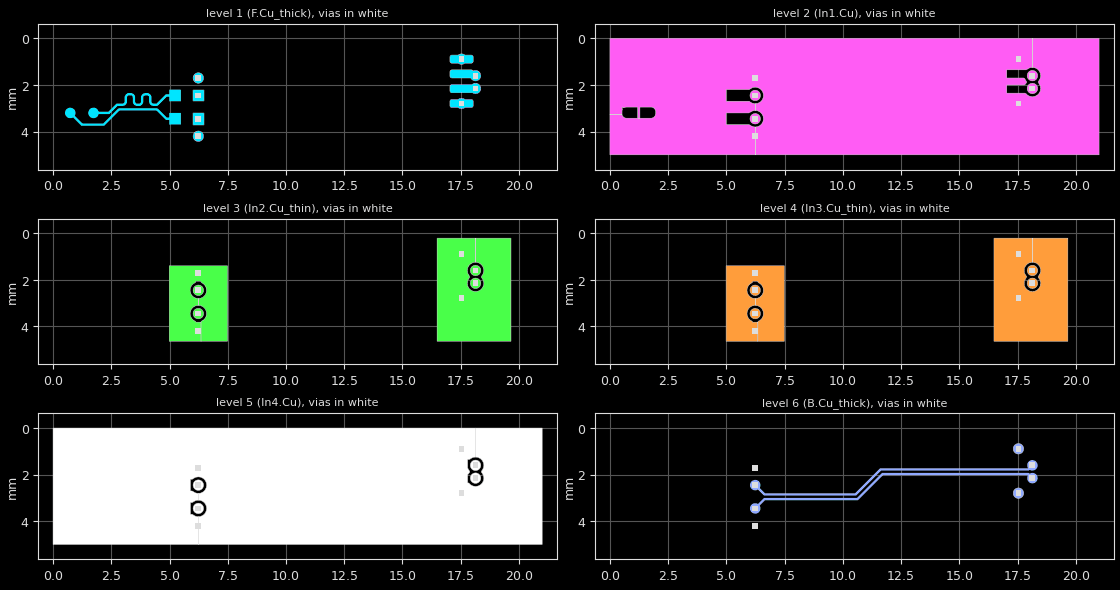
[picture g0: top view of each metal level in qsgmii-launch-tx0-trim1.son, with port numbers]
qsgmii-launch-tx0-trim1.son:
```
FTYP SONPROJ 19 ! Sonnet Project File
VER 18.56
HEADER
LIC antikernel2.1.65565
DAT 12/20/2024 06:20:38
BUILT_BY_CREATED xgeom 18.52 11/18/2021 20:28:07
BUILT_BY_SAVED sonnet 18.56
MDATE 12/20/2024 06:20:38
HDATE 12/20/2024 06:20:38
ANN Created by dxfgeo, Sonnet Software Inc.
END HEADER
DIM
ANG DEG
CAP PF
CON /OH
FREQ GHZ
IND NH
LNG MM
RES OH
END DIM
CONTROL
VARSWP
OPTIONS  -dj
SPEED 1
CACHE_ABS 2
Q_ACC N
END CONTROL
GEO
TMET "Free Space" 0 FREESPACE 376.7303136 0 0 0
BMET "Free Space" 0 FREESPACE 376.7303136 0 0 0
MET "Copper_1oz_thin" 1 NOR 58000000 0.5 0.035 
MET "Copper_1oz_thick" 2 TMM 58000000 0.5 0.035 2
MET "Copper_1oz_thick_down" 3 TMM 58000000 0.5 0.035 2 CDVY TDWN
MET "Copper_0.5oz_thin" 4 NOR 58000000 0.5 0.017 
MET "Copper_0.5oz_thick" 12 TMM 58000000 0.5 0.017 2
MET "Copper_0.5oz_thick_down" 5 TMM 58000000 0.5 0.017 2 CDVY TDWN
BOX 8 21 5 2100 500 20 0
      5 1 1 0 0 0 0 "Air"
      0.04 3.5 1 0.025 0 0 0 "Soldermask"
      0.076 4.49 1 0.016 0 0 0 "Shengyi_S1000-2M"
      0.1 4.49 1 0.016 0 0 0 "Shengyi_S1000-2M"
      1.038 4.49 1 0.016 0 0 0 "Shengyi_S1000-2M"
      0.1 4.49 1 0.016 0 0 0 "Shengyi_S1000-2M"
      0.076 4.49 1 0.016 0 0 0 "Shengyi_S1000-2M"
      0.04 3.5 1 0.025 0 0 0 "Soldermask"
      5 1 1 0 0 0 0 "Air"
TECHLAY METAL F.Cu_thick L1D0 -2 -65534 CAD F.Cu_thick drawing 
1 0 1 N 981 1 1 100 100 0 0 0 Y
END
END
TECHLAY METAL F.Cu_thin <UNSPECIFIED> -1 -65534 CAD F.Cu_thin drawing 
1 0 0 N 983 1 1 100 100 0 0 0 Y
END
END
TECHLAY VIA Via1 L7D0 -13 -65534 CAD Via1 drawing 
VIA POLYGON
1 0 -1 N 985 1 1 100 100 0 0 0 Y
TOLEVEL 6 RING NOCOVERS
END
END
TECHLAY METAL In1.Cu L2D0 -3 -65534 CAD In1.Cu drawing 
2 0 0 N 988 1 1 100 100 0 0 0 Y
END
END
TECHLAY METAL In2.Cu_thin L3D0 -4 -65534 CAD In2.Cu drawing 
3 0 3 N 991 1 1 100 100 0 0 0 Y
END
END
TECHLAY METAL In2.Cu_thick <UNSPECIFIED> -5 -65534 CAD In2.Cu_thick drawing 
3 0 4 N 993 1 1 100 100 0 0 0 Y
END
END
TECHLAY METAL In3.Cu_thin L4D0 -8 -65534 CAD In5.Cu drawing 
4 0 3 N 996 1 1 100 100 0 0 0 Y
END
END
TECHLAY METAL In4.Cu L5D0 -10 -65534 CAD In6.Cu drawing 
5 0 0 N 999 1 1 100 100 0 0 0 Y
END
END
TECHLAY METAL B.Cu_thick L6D0 -12 -65534 CAD B.Cu_thick drawing 
6 0 2 N 1002 1 1 100 100 0 0 0 Y
END
END
TECHLAY METAL B.Cu_thin <UNSPECIFIED> -11 -65534 CAD B.Cu_thin drawing 
6 0 0 N 1004 1 1 100 100 0 0 0 Y
END
END
TECHLAY METAL In3.Cu_thick <UNSPECIFIED> -9 -65534 CAD In5.Cu_thick drawing 
8 0 5 N 1008 1 1 100 100 0 0 0 Y
END
END
LORGN 0 5 U 
NUM 44
1 89 1 N 29 1 1 100 100 0 0 0 Y
TLAYNAM F.Cu_thick INH
17.038 0.799
17.039 0.791
17.041 0.782
17.043 0.774
17.046 0.766
17.05 0.759
17.055 0.751
17.073 0.733
17.081 0.728
17.088 0.724
17.096 0.721
17.104 0.719
17.113 0.717
17.121 0.716
17.397 0.716
17.404 0.71
17.422 0.698
17.442 0.688
17.462 0.679
17.483 0.673
17.505 0.668
17.527 0.666
17.549 0.666
17.571 0.668
17.593 0.673
17.614 0.679
17.634 0.688
17.654 0.698
17.672 0.71
17.679 0.716
17.955 0.716
17.963 0.717
17.972 0.719
17.98 0.721
17.988 0.724
17.995 0.728
18.003 0.733
18.021 0.751
18.026 0.759
18.03 0.766
18.033 0.774
18.035 0.782
18.037 0.791
18.038 0.799
18.038 0.983
18.037 0.991
18.035 1
18.033 1.008
18.03 1.016
18.026 1.023
18.021 1.031
18.003 1.049
17.995 1.054
17.988 1.058
17.98 1.061
17.972 1.063
17.963 1.065
17.955 1.066
17.679 1.066
17.672 1.072
17.654 1.084
17.634 1.094
17.614 1.103
17.593 1.109
17.571 1.114
17.549 1.116
17.527 1.116
17.505 1.114
17.483 1.109
17.462 1.103
17.442 1.094
17.422 1.084
17.404 1.072
17.397 1.066
17.121 1.066
17.113 1.065
17.104 1.063
17.096 1.061
17.088 1.058
17.081 1.054
17.073 1.049
17.055 1.031
17.05 1.023
17.046 1.016
17.043 1.008
17.041 1
17.039 0.991
17.038 0.983
17.038 0.799
END
1 89 1 N 30 1 1 100 100 0 0 0 Y
TLAYNAM F.Cu_thick INH
17.038 2.704
17.039 2.696
17.041 2.687
17.043 2.679
17.046 2.671
17.05 2.664
17.055 2.656
17.073 2.638
17.081 2.633
17.088 2.629
17.096 2.626
17.104 2.624
17.113 2.622
17.121 2.621
17.397 2.621
17.404 2.615
17.422 2.603
17.442 2.593
17.462 2.584
17.483 2.578
17.505 2.573
17.527 2.571
17.549 2.571
17.571 2.573
17.593 2.578
17.614 2.584
17.634 2.593
17.654 2.603
17.672 2.615
17.679 2.621
17.955 2.621
17.963 2.622
17.972 2.624
17.98 2.626
17.988 2.629
17.995 2.633
18.003 2.638
18.021 2.656
18.026 2.664
18.03 2.671
18.033 2.679
18.035 2.687
18.037 2.696
18.038 2.704
18.038 2.888
18.037 2.896
18.035 2.905
18.033 2.913
18.03 2.921
18.026 2.928
18.021 2.936
18.003 2.954
17.995 2.959
17.988 2.963
17.98 2.966
17.972 2.968
17.963 2.97
17.955 2.971
17.679 2.971
17.672 2.977
17.654 2.989
17.634 2.999
17.614 3.008
17.593 3.014
17.571 3.019
17.549 3.021
17.527 3.021
17.505 3.019
17.483 3.014
17.462 3.008
17.442 2.999
17.422 2.989
17.404 2.977
17.397 2.971
17.121 2.971
17.113 2.97
17.104 2.968
17.096 2.966
17.088 2.963
17.081 2.959
17.073 2.954
17.055 2.936
17.05 2.928
17.046 2.921
17.043 2.913
17.041 2.905
17.039 2.896
17.038 2.888
17.038 2.704
END
1 89 1 N 36 1 1 100 100 0 0 0 Y
TLAYNAM F.Cu_thick INH
17.038 1.434
17.039 1.426
17.041 1.417
17.043 1.409
17.046 1.401
17.05 1.394
17.055 1.386
17.073 1.368
17.081 1.363
17.088 1.359
17.096 1.356
17.104 1.354
17.113 1.352
17.121 1.351
17.955 1.351
17.963 1.352
17.972 1.354
17.98 1.356
17.988 1.359
17.995 1.363
18.003 1.368
18.021 1.386
18.026 1.394
18.03 1.401
18.031 1.404
18.042 1.398
18.062 1.389
18.083 1.383
18.105 1.378
18.127 1.376
18.149 1.376
18.171 1.378
18.193 1.383
18.214 1.389
18.234 1.398
18.254 1.408
18.272 1.42
18.289 1.434
18.305 1.45
18.319 1.467
18.331 1.485
18.341 1.505
18.35 1.525
18.356 1.546
18.361 1.568
18.363 1.59
18.363 1.612
18.361 1.634
18.356 1.656
18.35 1.677
18.341 1.697
18.331 1.717
18.319 1.735
18.305 1.752
18.289 1.768
18.272 1.782
18.254 1.794
18.234 1.804
18.214 1.813
18.193 1.819
18.171 1.824
18.149 1.826
18.127 1.826
18.105 1.824
18.083 1.819
18.062 1.813
18.042 1.804
18.022 1.794
18.004 1.782
17.987 1.768
17.971 1.752
17.957 1.735
17.945 1.717
17.937 1.701
17.121 1.701
17.113 1.7
17.104 1.698
17.096 1.696
17.088 1.693
17.081 1.689
17.073 1.684
17.055 1.666
17.05 1.658
17.046 1.651
17.043 1.643
17.041 1.635
17.039 1.626
17.038 1.618
17.038 1.434
END
1 86 1 N 37 1 1 100 100 0 0 0 Y
TLAYNAM F.Cu_thick INH
17.038 2.069
17.039 2.061
17.041 2.052
17.043 2.044
17.046 2.036
17.05 2.029
17.055 2.021
17.073 2.003
17.081 1.998
17.088 1.994
17.096 1.991
17.104 1.989
17.113 1.987
17.121 1.986
17.955 1.986
17.963 1.987
17.972 1.989
17.98 1.991
17.987 1.984
18.004 1.97
18.022 1.958
18.042 1.948
18.062 1.939
18.083 1.933
18.105 1.928
18.127 1.926
18.149 1.926
18.171 1.928
18.193 1.933
18.214 1.939
18.234 1.948
18.254 1.958
18.272 1.97
18.289 1.984
18.305 2
18.319 2.017
18.331 2.035
18.341 2.055
18.35 2.075
18.356 2.096
18.361 2.118
18.363 2.14
18.363 2.162
18.361 2.184
18.356 2.206
18.35 2.227
18.341 2.247
18.331 2.267
18.319 2.285
18.305 2.302
18.289 2.318
18.272 2.332
18.254 2.344
18.234 2.354
18.214 2.363
18.193 2.369
18.171 2.374
18.149 2.376
18.127 2.376
18.105 2.374
18.083 2.369
18.062 2.363
18.042 2.354
18.022 2.344
18.004 2.332
17.995 2.324
17.988 2.328
17.98 2.331
17.972 2.333
17.963 2.335
17.955 2.336
17.121 2.336
17.113 2.335
17.104 2.333
17.096 2.331
17.088 2.328
17.081 2.324
17.073 2.319
17.055 2.301
17.05 2.293
17.046 2.286
17.043 2.278
17.041 2.27
17.039 2.261
17.038 2.253
17.038 2.069
END
1 511 1 N 92 1 1 100 100 0 0 0 Y
TLAYNAM F.Cu_thick INH
1.513 3.19
1.515 3.168
1.52 3.146
1.526 3.125
1.535 3.105
1.545 3.085
1.557 3.067
1.571 3.05
1.587 3.034
1.604 3.02
1.622 3.008
1.642 2.998
1.662 2.989
1.683 2.983
1.705 2.978
1.727 2.976
1.749 2.976
1.771 2.978
1.793 2.983
1.814 2.989
1.834 2.998
1.854 3.008
1.872 3.02
1.889 3.034
1.905 3.05
1.919 3.067
1.931 3.085
1.941 3.105
1.95 3.125
1.956 3.146
1.957 3.151
2.376 3.151
2.706 2.821
2.709 2.817
2.713 2.814
2.716 2.811
2.72 2.808
2.725 2.806
2.729 2.804
2.734 2.802
2.739 2.801
2.978 2.801
3.003 2.799
3.021 2.793
3.034 2.786
3.049 2.774
3.062 2.759
3.066 2.752
3.067 2.748
3.072 2.732
3.075 2.704
3.075 2.531
3.076 2.528
3.076 2.526
3.077 2.507
3.078 2.502
3.081 2.496
3.082 2.493
3.085 2.481
3.086 2.475
3.086 2.474
3.087 2.471
3.088 2.47
3.097 2.452
3.097 2.45
3.099 2.446
3.1 2.445
3.102 2.441
3.102 2.44
3.105 2.436
3.106 2.435
3.118 2.417
3.122 2.414
3.125 2.41
3.128 2.408
3.134 2.402
3.136 2.399
3.138 2.397
3.141 2.395
3.141 2.394
3.143 2.393
3.144 2.391
3.149 2.388
3.16 2.381
3.161 2.38
3.163 2.377
3.167 2.375
3.172 2.372
3.198 2.36
3.203 2.358
3.208 2.357
3.224 2.353
3.226 2.352
3.229 2.351
3.23 2.351
3.235 2.35
3.245 2.35
3.253 2.349
3.258 2.348
3.342 2.348
3.346 2.349
3.347 2.349
3.365 2.351
3.37 2.351
3.375 2.352
3.38 2.354
3.4 2.36
3.401 2.36
3.406 2.362
3.41 2.364
3.415 2.366
3.418 2.368
3.429 2.374
3.43 2.374
3.434 2.376
3.439 2.379
3.443 2.381
3.468 2.402
3.471 2.405
3.472 2.405
3.486 2.423
3.489 2.426
3.495 2.434
3.497 2.439
3.499 2.443
3.508 2.459
3.512 2.467
3.514 2.472
3.515 2.477
3.522 2.499
3.523 2.504
3.523 2.518
3.524 2.526
3.524 2.527
3.525 2.531
3.525 2.718
3.526 2.724
3.532 2.745
3.533 2.748
3.535 2.752
3.547 2.77
3.557 2.78
3.576 2.792
3.582 2.795
3.6 2.799
3.622 2.801
3.678 2.801
3.703 2.799
3.721 2.793
3.734 2.786
3.749 2.774
3.762 2.759
3.766 2.752
3.767 2.748
3.772 2.732
3.775 2.704
3.775 2.531
3.776 2.527
3.776 2.526
3.778 2.508
3.778 2.504
3.779 2.499
3.779 2.498
3.787 2.473
3.787 2.472
3.789 2.467
3.791 2.463
3.793 2.458
3.795 2.455
3.801 2.444
3.801 2.443
3.803 2.439
3.806 2.434
3.808 2.43
3.829 2.405
3.832 2.402
3.84 2.396
3.841 2.396
3.851 2.388
3.854 2.385
3.862 2.379
3.867 2.377
3.871 2.375
3.883 2.368
3.886 2.366
3.89 2.364
3.9 2.36
3.903 2.359
3.905 2.359
3.915 2.355
3.918 2.355
3.921 2.354
3.926 2.352
3.93 2.351
3.931 2.351
3.953 2.349
3.954 2.349
3.958 2.348
4.042 2.348
4.046 2.349
4.047 2.349
4.065 2.351
4.07 2.351
4.075 2.352
4.106 2.362
4.11 2.364
4.115 2.366
4.118 2.368
4.129 2.374
4.13 2.374
4.134 2.376
4.139 2.379
4.143 2.381
4.168 2.402
4.171 2.405
4.172 2.405
4.186 2.423
4.189 2.426
4.195 2.434
4.197 2.439
4.199 2.443
4.208 2.459
4.212 2.467
4.214 2.472
4.215 2.477
4.222 2.499
4.223 2.504
4.223 2.518
4.224 2.526
4.224 2.527
4.225 2.531
4.225 2.718
4.226 2.724
4.232 2.745
4.233 2.748
4.235 2.752
4.247 2.77
4.257 2.78
4.276 2.792
4.282 2.795
4.3 2.799
4.322 2.801
4.442 2.801
4.829 2.414
4.837 2.408
4.842 2.406
4.846 2.404
4.851 2.402
4.856 2.401
4.988 2.401
4.988 2.201
5.488 2.201
5.488 2.701
4.988 2.701
4.988 2.501
4.884 2.501
4.497 2.888
4.489 2.894
4.484 2.896
4.48 2.898
4.475 2.9
4.47 2.901
4.308 2.901
4.303 2.9
4.295 2.899
4.285 2.899
4.28 2.898
4.279 2.898
4.276 2.897
4.274 2.896
4.258 2.892
4.253 2.891
4.248 2.889
4.222 2.877
4.217 2.874
4.213 2.872
4.211 2.869
4.21 2.868
4.199 2.861
4.194 2.858
4.193 2.856
4.191 2.855
4.191 2.854
4.188 2.851
4.187 2.851
4.186 2.85
4.184 2.847
4.178 2.841
4.175 2.839
4.172 2.835
4.168 2.832
4.156 2.814
4.155 2.813
4.152 2.809
4.152 2.808
4.15 2.804
4.149 2.803
4.147 2.799
4.147 2.797
4.138 2.779
4.137 2.778
4.136 2.775
4.136 2.774
4.135 2.768
4.132 2.756
4.131 2.753
4.128 2.747
4.127 2.742
4.126 2.723
4.126 2.721
4.125 2.718
4.125 2.545
4.122 2.517
4.117 2.501
4.116 2.497
4.112 2.49
4.099 2.475
4.084 2.463
4.071 2.456
4.053 2.45
4.028 2.448
3.972 2.448
3.948 2.45
3.93 2.456
3.918 2.462
3.898 2.479
3.89 2.489
3.883 2.502
3.877 2.52
3.875 2.546
3.875 2.718
3.874 2.722
3.874 2.723
3.873 2.731
3.873 2.745
3.872 2.75
3.865 2.772
3.864 2.777
3.862 2.782
3.858 2.79
3.849 2.806
3.847 2.81
3.845 2.815
3.839 2.823
3.836 2.826
3.822 2.844
3.821 2.844
3.818 2.847
3.793 2.868
3.789 2.87
3.784 2.873
3.78 2.875
3.779 2.875
3.768 2.881
3.765 2.883
3.76 2.885
3.756 2.887
3.751 2.889
3.75 2.889
3.73 2.895
3.725 2.897
3.72 2.898
3.715 2.898
3.697 2.9
3.696 2.9
3.692 2.901
3.608 2.901
3.603 2.9
3.595 2.899
3.585 2.899
3.58 2.898
3.579 2.898
3.576 2.897
3.574 2.896
3.558 2.892
3.553 2.891
3.548 2.889
3.522 2.877
3.517 2.874
3.513 2.872
3.511 2.869
3.51 2.868
3.499 2.861
3.494 2.858
3.493 2.856
3.491 2.855
3.491 2.854
3.488 2.851
3.487 2.851
3.486 2.85
3.484 2.847
3.478 2.841
3.475 2.839
3.472 2.835
3.468 2.832
3.456 2.814
3.455 2.813
3.452 2.809
3.452 2.808
3.45 2.804
3.449 2.803
3.447 2.799
3.447 2.797
3.438 2.779
3.437 2.778
3.436 2.775
3.436 2.774
3.435 2.768
3.432 2.756
3.431 2.753
3.428 2.747
3.427 2.742
3.426 2.723
3.426 2.721
3.425 2.718
3.425 2.545
3.422 2.517
3.417 2.501
3.416 2.497
3.412 2.49
3.399 2.475
3.384 2.463
3.371 2.456
3.353 2.45
3.328 2.448
3.272 2.448
3.25 2.45
3.232 2.454
3.226 2.457
3.207 2.469
3.197 2.479
3.185 2.497
3.183 2.501
3.182 2.504
3.176 2.525
3.175 2.53
3.175 2.718
3.174 2.722
3.174 2.723
3.173 2.731
3.173 2.745
3.172 2.75
3.165 2.772
3.164 2.777
3.162 2.782
3.158 2.79
3.149 2.806
3.147 2.81
3.145 2.815
3.139 2.823
3.136 2.826
3.122 2.844
3.121 2.844
3.118 2.847
3.093 2.868
3.089 2.87
3.084 2.873
3.08 2.875
3.079 2.875
3.068 2.881
3.065 2.883
3.06 2.885
3.056 2.887
3.051 2.889
3.05 2.889
3.03 2.895
3.025 2.897
3.02 2.898
3.015 2.898
2.997 2.9
2.996 2.9
2.992 2.901
2.768 2.901
2.431 3.238
2.423 3.244
2.418 3.246
2.414 3.248
2.409 3.25
2.404 3.251
1.957 3.251
1.956 3.256
1.95 3.277
1.941 3.297
1.931 3.317
1.919 3.335
1.905 3.352
1.889 3.368
1.872 3.382
1.854 3.394
1.834 3.404
1.814 3.413
1.793 3.419
1.771 3.424
1.749 3.426
1.727 3.426
1.705 3.424
1.683 3.419
1.662 3.413
1.642 3.404
1.622 3.394
1.604 3.382
1.587 3.368
1.571 3.352
1.557 3.335
1.545 3.317
1.535 3.297
1.526 3.277
1.52 3.256
1.515 3.234
1.513 3.212
1.513 3.19
END
1 103 1 N 93 1 1 100 100 0 0 0 Y
TLAYNAM F.Cu_thick INH
0.513 3.19
0.515 3.168
0.52 3.146
0.526 3.125
0.535 3.105
0.545 3.085
0.557 3.067
0.571 3.05
0.587 3.034
0.604 3.02
0.622 3.008
0.642 2.998
0.662 2.989
0.683 2.983
0.705 2.978
0.727 2.976
0.749 2.976
0.771 2.978
0.793 2.983
0.814 2.989
0.834 2.998
0.854 3.008
0.872 3.02
0.889 3.034
0.905 3.05
0.919 3.067
0.931 3.085
0.941 3.105
0.95 3.125
0.956 3.146
0.961 3.168
0.963 3.19
0.963 3.212
0.961 3.234
0.956 3.256
0.95 3.277
0.941 3.297
0.929 3.321
1.259 3.651
2.158 3.651
2.795 3.014
2.803 3.008
2.808 3.006
2.812 3.004
2.817 3.002
2.822 3.001
4.47 3.001
4.475 3.002
4.48 3.004
4.484 3.006
4.489 3.008
4.497 3.014
4.884 3.401
4.988 3.401
4.988 3.201
5.488 3.201
5.488 3.701
4.988 3.701
4.988 3.501
4.856 3.501
4.851 3.5
4.846 3.498
4.842 3.496
4.837 3.494
4.829 3.488
4.442 3.101
2.85 3.101
2.22 3.731
2.217 3.735
2.205 3.744
2.201 3.746
2.196 3.748
2.192 3.75
2.187 3.751
1.231 3.751
1.226 3.75
1.221 3.748
1.217 3.746
1.212 3.744
1.204 3.738
0.858 3.392
0.834 3.404
0.814 3.413
0.793 3.419
0.771 3.424
0.749 3.426
0.727 3.426
0.705 3.424
0.683 3.419
0.662 3.413
0.642 3.404
0.622 3.394
0.604 3.382
0.587 3.368
0.571 3.352
0.557 3.335
0.545 3.317
0.535 3.297
0.526 3.277
0.52 3.256
0.515 3.234
0.513 3.212
0.513 3.19
END
1 65 1 N 94 1 1 100 100 0 0 0 Y
TLAYNAM F.Cu_thick INH
6.013 1.69
6.015 1.668
6.02 1.646
6.026 1.625
6.035 1.605
6.045 1.585
6.057 1.567
6.071 1.55
6.087 1.534
6.104 1.52
6.122 1.508
6.142 1.498
6.162 1.489
6.183 1.483
6.205 1.478
6.227 1.476
6.249 1.476
6.271 1.478
6.293 1.483
6.314 1.489
6.334 1.498
6.354 1.508
6.372 1.52
6.389 1.534
6.405 1.55
6.419 1.567
6.431 1.585
6.441 1.605
6.45 1.625
6.456 1.646
6.461 1.668
6.463 1.69
6.463 1.712
6.461 1.734
6.456 1.756
6.45 1.777
6.441 1.797
6.431 1.817
6.419 1.835
6.405 1.852
6.389 1.868
6.372 1.882
6.354 1.894
6.334 1.904
6.314 1.913
6.293 1.919
6.271 1.924
6.249 1.926
6.227 1.926
6.205 1.924
6.183 1.919
6.162 1.913
6.142 1.904
6.122 1.894
6.104 1.882
6.087 1.868
6.071 1.852
6.057 1.835
6.045 1.817
6.035 1.797
6.026 1.777
6.02 1.756
6.015 1.734
6.013 1.712
6.013 1.69
END
1 65 1 N 95 1 1 100 100 0 0 0 Y
TLAYNAM F.Cu_thick INH
6.013 4.19
6.015 4.168
6.02 4.146
6.026 4.125
6.035 4.105
6.045 4.085
6.057 4.067
6.071 4.05
6.087 4.034
6.104 4.02
6.122 4.008
6.142 3.998
6.162 3.989
6.183 3.983
6.205 3.978
6.227 3.976
6.249 3.976
6.271 3.978
6.293 3.983
6.314 3.989
6.334 3.998
6.354 4.008
6.372 4.02
6.389 4.034
6.405 4.05
6.419 4.067
6.431 4.085
6.441 4.105
6.45 4.125
6.456 4.146
6.461 4.168
6.463 4.19
6.463 4.212
6.461 4.234
6.456 4.256
6.45 4.277
6.441 4.297
6.431 4.317
6.419 4.335
6.405 4.352
6.389 4.368
6.372 4.382
6.354 4.394
6.334 4.404
6.314 4.413
6.293 4.419
6.271 4.424
6.249 4.426
6.227 4.426
6.205 4.424
6.183 4.419
6.162 4.413
6.142 4.404
6.122 4.394
6.104 4.382
6.087 4.368
6.071 4.352
6.057 4.335
6.045 4.317
6.035 4.297
6.026 4.277
6.02 4.256
6.015 4.234
6.013 4.212
6.013 4.19
END
1 5 1 N 97 1 1 100 100 0 0 0 Y
TLAYNAM F.Cu_thick INH
5.988 2.201
6.488 2.201
6.488 2.701
5.988 2.701
5.988 2.201
END
1 5 1 N 98 1 1 100 100 0 0 0 Y
TLAYNAM F.Cu_thick INH
5.988 3.201
6.488 3.201
6.488 3.701
5.988 3.701
5.988 3.201
END
VIA POLYGON
1 5 -1 N 806 1 1 100 100 0 0 0 Y
TOLEVEL 6 RING NOCOVERS
TLAYNAM Via1 INH
17.413 0.766
17.663 0.766
17.663 1.016
17.413 1.016
17.413 0.766
END
VIA POLYGON
1 5 -1 N 807 1 1 100 100 0 0 0 Y
TOLEVEL 6 RING NOCOVERS
TLAYNAM Via1 INH
17.413 2.671
17.663 2.671
17.663 2.921
17.413 2.921
17.413 2.671
END
VIA POLYGON
1 5 -1 N 811 1 1 100 100 0 0 0 Y
TOLEVEL 6 RING NOCOVERS
TLAYNAM Via1 INH
18.013 1.476
18.263 1.476
18.263 1.726
18.013 1.726
18.013 1.476
END
VIA POLYGON
1 5 -1 N 812 1 1 100 100 0 0 0 Y
TOLEVEL 6 RING NOCOVERS
TLAYNAM Via1 INH
18.013 2.026
18.263 2.026
18.263 2.276
18.013 2.276
18.013 2.026
END
VIA POLYGON
1 5 -1 N 865 1 1 100 100 0 0 0 Y
TOLEVEL 6 RING NOCOVERS
TLAYNAM Via1 INH
6.113 1.576
6.363 1.576
6.363 1.826
6.113 1.826
6.113 1.576
END
VIA POLYGON
1 5 -1 N 866 1 1 100 100 0 0 0 Y
TOLEVEL 6 RING NOCOVERS
TLAYNAM Via1 INH
6.113 2.326
6.363 2.326
6.363 2.576
6.113 2.576
6.113 2.326
END
VIA POLYGON
1 5 -1 N 867 1 1 100 100 0 0 0 Y
TOLEVEL 6 RING NOCOVERS
TLAYNAM Via1 INH
6.113 3.326
6.363 3.326
6.363 3.576
6.113 3.576
6.113 3.326
END
VIA POLYGON
1 5 -1 N 868 1 1 100 100 0 0 0 Y
TOLEVEL 6 RING NOCOVERS
TLAYNAM Via1 INH
6.113 4.076
6.363 4.076
6.363 4.326
6.113 4.326
6.113 4.076
END
2 65 0 N 309 1 1 100 100 0 0 0 Y
TLAYNAM In1.Cu INH
6.013 2.44
6.015 2.418
6.02 2.396
6.026 2.375
6.035 2.355
6.045 2.335
6.057 2.317
6.071 2.3
6.087 2.284
6.104 2.27
6.122 2.258
6.142 2.248
6.162 2.239
6.183 2.233
6.205 2.228
6.227 2.226
6.249 2.226
6.271 2.228
6.293 2.233
6.314 2.239
6.334 2.248
6.354 2.258
6.372 2.27
6.389 2.284
6.405 2.3
6.419 2.317
6.431 2.335
6.441 2.355
6.45 2.375
6.456 2.396
6.461 2.418
6.463 2.44
6.463 2.462
6.461 2.484
6.456 2.506
6.45 2.527
6.441 2.547
6.431 2.567
6.419 2.585
6.405 2.602
6.389 2.618
6.372 2.632
6.354 2.644
6.334 2.654
6.314 2.663
6.293 2.669
6.271 2.674
6.249 2.676
6.227 2.676
6.205 2.674
6.183 2.669
6.162 2.663
6.142 2.654
6.122 2.644
6.104 2.632
6.087 2.618
6.071 2.602
6.057 2.585
6.045 2.567
6.035 2.547
6.026 2.527
6.02 2.506
6.015 2.484
6.013 2.462
6.013 2.44
END
2 65 0 N 310 1 1 100 100 0 0 0 Y
TLAYNAM In1.Cu INH
6.013 3.44
6.015 3.418
6.02 3.396
6.026 3.375
6.035 3.355
6.045 3.335
6.057 3.317
6.071 3.3
6.087 3.284
6.104 3.27
6.122 3.258
6.142 3.248
6.162 3.239
6.183 3.233
6.205 3.228
6.227 3.226
6.249 3.226
6.271 3.228
6.293 3.233
6.314 3.239
6.334 3.248
6.354 3.258
6.372 3.27
6.389 3.284
6.405 3.3
6.419 3.317
6.431 3.335
6.441 3.355
6.45 3.375
6.456 3.396
6.461 3.418
6.463 3.44
6.463 3.462
6.461 3.484
6.456 3.506
6.45 3.527
6.441 3.547
6.431 3.567
6.419 3.585
6.405 3.602
6.389 3.618
6.372 3.632
6.354 3.644
6.334 3.654
6.314 3.663
6.293 3.669
6.271 3.674
6.249 3.676
6.227 3.676
6.205 3.674
6.183 3.669
6.162 3.663
6.142 3.654
6.122 3.644
6.104 3.632
6.087 3.618
6.071 3.602
6.057 3.585
6.045 3.567
6.035 3.547
6.026 3.527
6.02 3.506
6.015 3.484
6.013 3.462
6.013 3.44
END
2 65 0 N 315 1 1 100 100 0 0 0 Y
TLAYNAM In1.Cu INH
17.913 1.59
17.915 1.568
17.92 1.546
17.926 1.525
17.935 1.505
17.945 1.485
17.957 1.467
17.971 1.45
17.987 1.434
18.004 1.42
18.022 1.408
18.042 1.398
18.062 1.389
18.083 1.383
18.105 1.378
18.127 1.376
18.149 1.376
18.171 1.378
18.193 1.383
18.214 1.389
18.234 1.398
18.254 1.408
18.272 1.42
18.289 1.434
18.305 1.45
18.319 1.467
18.331 1.485
18.341 1.505
18.35 1.525
18.356 1.546
18.361 1.568
18.363 1.59
18.363 1.612
18.361 1.634
18.356 1.656
18.35 1.677
18.341 1.697
18.331 1.717
18.319 1.735
18.305 1.752
18.289 1.768
18.272 1.782
18.254 1.794
18.234 1.804
18.214 1.813
18.193 1.819
18.171 1.824
18.149 1.826
18.127 1.826
18.105 1.824
18.083 1.819
18.062 1.813
18.042 1.804
18.022 1.794
18.004 1.782
17.987 1.768
17.971 1.752
17.957 1.735
17.945 1.717
17.935 1.697
17.926 1.677
17.92 1.656
17.915 1.634
17.913 1.612
17.913 1.59
END
2 65 0 N 316 1 1 100 100 0 0 0 Y
TLAYNAM In1.Cu INH
17.913 2.14
17.915 2.118
17.92 2.096
17.926 2.075
17.935 2.055
17.945 2.035
17.957 2.017
17.971 2
17.987 1.984
18.004 1.97
18.022 1.958
18.042 1.948
18.062 1.939
18.083 1.933
18.105 1.928
18.127 1.926
18.149 1.926
18.171 1.928
18.193 1.933
18.214 1.939
18.234 1.948
18.254 1.958
18.272 1.97
18.289 1.984
18.305 2
18.319 2.017
18.331 2.035
18.341 2.055
18.35 2.075
18.356 2.096
18.361 2.118
18.363 2.14
18.363 2.162
18.361 2.184
18.356 2.206
18.35 2.227
18.341 2.247
18.331 2.267
18.319 2.285
18.305 2.302
18.289 2.318
18.272 2.332
18.254 2.344
18.234 2.354
18.214 2.363
18.193 2.369
18.171 2.374
18.149 2.376
18.127 2.376
18.105 2.374
18.083 2.369
18.062 2.363
18.042 2.354
18.022 2.344
18.004 2.332
17.987 2.318
17.971 2.302
17.957 2.285
17.945 2.267
17.935 2.247
17.926 2.227
17.92 2.206
17.915 2.184
17.913 2.162
17.913 2.14
END
2 164 0 N 1115 1 1 100 100 0 0 0 Y
TLAYNAM In1.Cu INH
21 4.64
21 0.46
21 0
18.138 0
18.138 1.246
18.248 1.263
18.347 1.314
18.425 1.392
18.476 1.491
18.493 1.601
18.476 1.711
18.425 1.81
18.402 1.833
18.384 1.876
18.402 1.919
18.425 1.942
18.476 2.041
18.493 2.151
18.476 2.261
18.425 2.36
18.347 2.438
18.321 2.451
18.248 2.489
18.138 2.506
18.028 2.489
17.965 2.456
17.929 2.438
17.86 2.369
17.817 2.351
17.038 2.351
17.038 2.001
17.783 2.001
17.802 1.998
17.838 1.967
17.851 1.942
17.874 1.919
17.892 1.876
17.874 1.833
17.851 1.81
17.813 1.735
17.801 1.719
17.758 1.701
17.038 1.701
17.038 1.351
17.867 1.351
17.91 1.333
17.929 1.314
18.028 1.263
18.138 1.246
18.138 0
0 0
0 3.277166667
0.52 3.277166667
0.52 3.099631579
0.534 3.065
0.536 3.06
0.532 3.013
0.52 3.003
0.52 2.951
0.5368235294 2.951
0.564 2.979
0.611 2.979
0.674 2.953
0.713 2.951
1.188 2.951
1.188 3.426
1.288 3.426
1.288 2.951
1.763 2.951
1.802 2.953
1.875 2.983
1.931 3.039
1.961 3.112
1.962 3.139
1.963 3.151
1.963 3.226
1.962 3.239
1.961 3.265
1.931 3.338
1.875 3.394
1.802 3.424
1.763 3.426
1.288 3.426
1.188 3.426
1.188 3.426
0.713 3.426
0.674 3.424
0.601 3.394
0.545 3.338
0.52 3.277166667
0 3.277166667
0 3.277166667
0 3.84
0 5
6.238 5
6.238 3.806
6.128 3.789
6.103 3.776
6.029 3.738
6.01 3.719
5.967 3.701
4.988 3.701
4.988 3.201
5.967 3.201
6.01 3.183
6.029 3.164
6.128 3.113
6.238 3.096
6.238 2.806
6.128 2.789
6.103 2.776
6.029 2.738
6.01 2.719
5.967 2.701
4.988 2.701
4.988 2.201
5.967 2.201
6.01 2.183
6.029 2.164
6.128 2.113
6.238 2.096
6.348 2.113
6.447 2.164
6.466 2.183
6.473 2.186
6.503 2.216
6.506 2.223
6.525 2.242
6.576 2.341
6.593 2.451
6.576 2.561
6.525 2.66
6.506 2.679
6.503 2.686
6.473 2.716
6.466 2.719
6.447 2.738
6.378 2.773
6.348 2.789
6.238 2.806
6.238 2.806
6.238 3.096
6.348 3.113
6.447 3.164
6.466 3.183
6.473 3.186
6.503 3.216
6.506 3.223
6.525 3.242
6.576 3.341
6.593 3.451
6.576 3.561
6.525 3.66
6.506 3.679
6.503 3.686
6.473 3.716
6.466 3.719
6.447 3.738
6.378 3.773
6.348 3.789
6.238 3.806
6.238 5
21 5
21 4.64
END
3 65 3 N 1124 1 1 100 100 0 0 0 Y
TLAYNAM In2.Cu_thin INH
6.013 2.44
6.015 2.418
6.02 2.396
6.026 2.375
6.035 2.355
6.045 2.335
6.057 2.317
6.071 2.3
6.087 2.284
6.104 2.27
6.122 2.258
6.142 2.248
6.162 2.239
6.183 2.233
6.205 2.228
6.227 2.226
6.249 2.226
6.271 2.228
6.293 2.233
6.314 2.239
6.334 2.248
6.354 2.258
6.372 2.27
6.389 2.284
6.405 2.3
6.419 2.317
6.431 2.335
6.441 2.355
6.45 2.375
6.456 2.396
6.461 2.418
6.463 2.44
6.463 2.462
6.461 2.484
6.456 2.506
6.45 2.527
6.441 2.547
6.431 2.567
6.419 2.585
6.405 2.602
6.389 2.618
6.372 2.632
6.354 2.644
6.334 2.654
6.314 2.663
6.293 2.669
6.271 2.674
6.249 2.676
6.227 2.676
6.205 2.674
6.183 2.669
6.162 2.663
6.142 2.654
6.122 2.644
6.104 2.632
6.087 2.618
6.071 2.602
6.057 2.585
6.045 2.567
6.035 2.547
6.026 2.527
6.02 2.506
6.015 2.484
6.013 2.462
6.013 2.44
END
3 46 3 N 1125 1 1 100 100 0 0 0 Y
TLAYNAM In2.Cu_thin INH
19.66 0.212
18.138 0.212
18.138 1.246
18.248 1.263
18.347 1.314
18.425 1.392
18.476 1.491
18.493 1.601
18.476 1.711
18.425 1.81
18.402 1.833
18.384 1.876
18.402 1.919
18.425 1.942
18.476 2.041
18.493 2.151
18.476 2.261
18.425 2.36
18.347 2.438
18.321 2.451
18.248 2.489
18.138 2.506
18.028 2.489
17.965 2.456
17.929 2.438
17.851 2.36
17.8 2.261
17.783 2.151
17.8 2.041
17.851 1.942
17.874 1.919
17.892 1.876
17.874 1.833
17.851 1.81
17.8 1.711
17.783 1.601
17.8 1.491
17.851 1.392
17.929 1.314
18.028 1.263
18.138 1.246
18.138 0.212
16.488 0.212
16.488 4.64
19.66 4.64
19.66 0.212
END
3 60 3 N 1126 1 1 100 100 0 0 0 Y
TLAYNAM In2.Cu_thin INH
7.488 1.4
4.988 1.4
4.988 4.64
6.35312766 4.64
6.35312766 3.82
6.123893617 3.82
6.125 3.807
6.094 3.771
6.057 3.752
6.029 3.738
5.951 3.66
5.9 3.561
5.883 3.451
5.9 3.341
5.951 3.242
6.029 3.164
6.128 3.113
6.238 3.096
6.238 2.806
6.128 2.789
6.057 2.752
6.029 2.738
5.951 2.66
5.9 2.561
5.883 2.451
5.9 2.341
5.951 2.242
6.029 2.164
6.094 2.131
6.121 2.104
6.124744681 2.06
6.353978723 2.06
6.351 2.095
6.382 2.131
6.447 2.164
6.525 2.242
6.576 2.341
6.593 2.451
6.576 2.561
6.525 2.66
6.447 2.738
6.378 2.773
6.348 2.789
6.238 2.806
6.238 2.806
6.238 3.096
6.348 3.113
6.447 3.164
6.525 3.242
6.576 3.341
6.593 3.451
6.576 3.561
6.525 3.66
6.447 3.738
6.382 3.771
6.355 3.798
6.35312766 3.82
6.35312766 4.64
7.488 4.64
7.488 1.4
END
3 65 3 N 1127 1 1 100 100 0 0 0 Y
TLAYNAM In2.Cu_thin INH
17.913 2.14
17.915 2.118
17.92 2.096
17.926 2.075
17.935 2.055
17.945 2.035
17.957 2.017
17.971 2
17.987 1.984
18.004 1.97
18.022 1.958
18.042 1.948
18.062 1.939
18.083 1.933
18.105 1.928
18.127 1.926
18.149 1.926
18.171 1.928
18.193 1.933
18.214 1.939
18.234 1.948
18.254 1.958
18.272 1.97
18.289 1.984
18.305 2
18.319 2.017
18.331 2.035
18.341 2.055
18.35 2.075
18.356 2.096
18.361 2.118
18.363 2.14
18.363 2.162
18.361 2.184
18.356 2.206
18.35 2.227
18.341 2.247
18.331 2.267
18.319 2.285
18.305 2.302
18.289 2.318
18.272 2.332
18.254 2.344
18.234 2.354
18.214 2.363
18.193 2.369
18.171 2.374
18.149 2.376
18.127 2.376
18.105 2.374
18.083 2.369
18.062 2.363
18.042 2.354
18.022 2.344
18.004 2.332
17.987 2.318
17.971 2.302
17.957 2.285
17.945 2.267
17.935 2.247
17.926 2.227
17.92 2.206
17.915 2.184
17.913 2.162
17.913 2.14
END
3 65 3 N 1128 1 1 100 100 0 0 0 Y
TLAYNAM In2.Cu_thin INH
6.013 3.44
6.015 3.418
6.02 3.396
6.026 3.375
6.035 3.355
6.045 3.335
6.057 3.317
6.071 3.3
6.087 3.284
6.104 3.27
6.122 3.258
6.142 3.248
6.162 3.239
6.183 3.233
6.205 3.228
6.227 3.226
6.249 3.226
6.271 3.228
6.293 3.233
6.314 3.239
6.334 3.248
6.354 3.258
6.372 3.27
6.389 3.284
6.405 3.3
6.419 3.317
6.431 3.335
6.441 3.355
6.45 3.375
6.456 3.396
6.461 3.418
6.463 3.44
6.463 3.462
6.461 3.484
6.456 3.506
6.45 3.527
6.441 3.547
6.431 3.567
6.419 3.585
6.405 3.602
6.389 3.618
6.372 3.632
6.354 3.644
6.334 3.654
6.314 3.663
6.293 3.669
6.271 3.674
6.249 3.676
6.227 3.676
6.205 3.674
6.183 3.669
6.162 3.663
6.142 3.654
6.122 3.644
6.104 3.632
6.087 3.618
6.071 3.602
6.057 3.585
6.045 3.567
6.035 3.547
6.026 3.527
6.02 3.506
6.015 3.484
6.013 3.462
6.013 3.44
END
3 65 3 N 1129 1 1 100 100 0 0 0 Y
TLAYNAM In2.Cu_thin INH
17.913 1.59
17.915 1.568
17.92 1.546
17.926 1.525
17.935 1.505
17.945 1.485
17.957 1.467
17.971 1.45
17.987 1.434
18.004 1.42
18.022 1.408
18.042 1.398
18.062 1.389
18.083 1.383
18.105 1.378
18.127 1.376
18.149 1.376
18.171 1.378
18.193 1.383
18.214 1.389
18.234 1.398
18.254 1.408
18.272 1.42
18.289 1.434
18.305 1.45
18.319 1.467
18.331 1.485
18.341 1.505
18.35 1.525
18.356 1.546
18.361 1.568
18.363 1.59
18.363 1.612
18.361 1.634
18.356 1.656
18.35 1.677
18.341 1.697
18.331 1.717
18.319 1.735
18.305 1.752
18.289 1.768
18.272 1.782
18.254 1.794
18.234 1.804
18.214 1.813
18.193 1.819
18.171 1.824
18.149 1.826
18.127 1.826
18.105 1.824
18.083 1.819
18.062 1.813
18.042 1.804
18.022 1.794
18.004 1.782
17.987 1.768
17.971 1.752
17.957 1.735
17.945 1.717
17.935 1.697
17.926 1.677
17.92 1.656
17.915 1.634
17.913 1.612
17.913 1.59
END
4 65 3 N 451 1 1 100 100 0 0 0 Y
TLAYNAM In3.Cu_thin INH
17.913 1.59
17.915 1.568
17.92 1.546
17.926 1.525
17.935 1.505
17.945 1.485
17.957 1.467
17.971 1.45
17.987 1.434
18.004 1.42
18.022 1.408
18.042 1.398
18.062 1.389
18.083 1.383
18.105 1.378
18.127 1.376
18.149 1.376
18.171 1.378
18.193 1.383
18.214 1.389
18.234 1.398
18.254 1.408
18.272 1.42
18.289 1.434
18.305 1.45
18.319 1.467
18.331 1.485
18.341 1.505
18.35 1.525
18.356 1.546
18.361 1.568
18.363 1.59
18.363 1.612
18.361 1.634
18.356 1.656
18.35 1.677
18.341 1.697
18.331 1.717
18.319 1.735
18.305 1.752
18.289 1.768
18.272 1.782
18.254 1.794
18.234 1.804
18.214 1.813
18.193 1.819
18.171 1.824
18.149 1.826
18.127 1.826
18.105 1.824
18.083 1.819
18.062 1.813
18.042 1.804
18.022 1.794
18.004 1.782
17.987 1.768
17.971 1.752
17.957 1.735
17.945 1.717
17.935 1.697
17.926 1.677
17.92 1.656
17.915 1.634
17.913 1.612
17.913 1.59
END
4 65 3 N 452 1 1 100 100 0 0 0 Y
TLAYNAM In3.Cu_thin INH
17.913 2.14
17.915 2.118
17.92 2.096
17.926 2.075
17.935 2.055
17.945 2.035
17.957 2.017
17.971 2
17.987 1.984
18.004 1.97
18.022 1.958
18.042 1.948
18.062 1.939
18.083 1.933
18.105 1.928
18.127 1.926
18.149 1.926
18.171 1.928
18.193 1.933
18.214 1.939
18.234 1.948
18.254 1.958
18.272 1.97
18.289 1.984
18.305 2
18.319 2.017
18.331 2.035
18.341 2.055
18.35 2.075
18.356 2.096
18.361 2.118
18.363 2.14
18.363 2.162
18.361 2.184
18.356 2.206
18.35 2.227
18.341 2.247
18.331 2.267
18.319 2.285
18.305 2.302
18.289 2.318
18.272 2.332
18.254 2.344
18.234 2.354
18.214 2.363
18.193 2.369
18.171 2.374
18.149 2.376
18.127 2.376
18.105 2.374
18.083 2.369
18.062 2.363
18.042 2.354
18.022 2.344
18.004 2.332
17.987 2.318
17.971 2.302
17.957 2.285
17.945 2.267
17.935 2.247
17.926 2.227
17.92 2.206
17.915 2.184
17.913 2.162
17.913 2.14
END
4 65 3 N 496 1 1 100 100 0 0 0 Y
TLAYNAM In3.Cu_thin INH
6.013 2.44
6.015 2.418
6.02 2.396
6.026 2.375
6.035 2.355
6.045 2.335
6.057 2.317
6.071 2.3
6.087 2.284
6.104 2.27
6.122 2.258
6.142 2.248
6.162 2.239
6.183 2.233
6.205 2.228
6.227 2.226
6.249 2.226
6.271 2.228
6.293 2.233
6.314 2.239
6.334 2.248
6.354 2.258
6.372 2.27
6.389 2.284
6.405 2.3
6.419 2.317
6.431 2.335
6.441 2.355
6.45 2.375
6.456 2.396
6.461 2.418
6.463 2.44
6.463 2.462
6.461 2.484
6.456 2.506
6.45 2.527
6.441 2.547
6.431 2.567
6.419 2.585
6.405 2.602
6.389 2.618
6.372 2.632
6.354 2.644
6.334 2.654
6.314 2.663
6.293 2.669
6.271 2.674
6.249 2.676
6.227 2.676
6.205 2.674
6.183 2.669
6.162 2.663
6.142 2.654
6.122 2.644
6.104 2.632
6.087 2.618
6.071 2.602
6.057 2.585
6.045 2.567
6.035 2.547
6.026 2.527
6.02 2.506
6.015 2.484
6.013 2.462
6.013 2.44
END
4 65 3 N 497 1 1 100 100 0 0 0 Y
TLAYNAM In3.Cu_thin INH
6.013 3.44
6.015 3.418
6.02 3.396
6.026 3.375
6.035 3.355
6.045 3.335
6.057 3.317
6.071 3.3
6.087 3.284
6.104 3.27
6.122 3.258
6.142 3.248
6.162 3.239
6.183 3.233
6.205 3.228
6.227 3.226
6.249 3.226
6.271 3.228
6.293 3.233
6.314 3.239
6.334 3.248
6.354 3.258
6.372 3.27
6.389 3.284
6.405 3.3
6.419 3.317
6.431 3.335
6.441 3.355
6.45 3.375
6.456 3.396
6.461 3.418
6.463 3.44
6.463 3.462
6.461 3.484
6.456 3.506
6.45 3.527
6.441 3.547
6.431 3.567
6.419 3.585
6.405 3.602
6.389 3.618
6.372 3.632
6.354 3.644
6.334 3.654
6.314 3.663
6.293 3.669
6.271 3.674
6.249 3.676
6.227 3.676
6.205 3.674
6.183 3.669
6.162 3.663
6.142 3.654
6.122 3.644
6.104 3.632
6.087 3.618
6.071 3.602
6.057 3.585
6.045 3.567
6.035 3.547
6.026 3.527
6.02 3.506
6.015 3.484
6.013 3.462
6.013 3.44
END
4 46 3 N 1112 1 1 100 100 0 0 0 Y
TLAYNAM In3.Cu_thin INH
19.66 0.212
18.138 0.212
18.138 1.246
18.248 1.263
18.347 1.314
18.425 1.392
18.476 1.491
18.493 1.601
18.476 1.711
18.425 1.81
18.402 1.833
18.384 1.876
18.402 1.919
18.425 1.942
18.476 2.041
18.493 2.151
18.476 2.261
18.425 2.36
18.347 2.438
18.321 2.451
18.248 2.489
18.138 2.506
18.028 2.489
17.965 2.456
17.929 2.438
17.851 2.36
17.8 2.261
17.783 2.151
17.8 2.041
17.851 1.942
17.874 1.919
17.892 1.876
17.874 1.833
17.851 1.81
17.8 1.711
17.783 1.601
17.8 1.491
17.851 1.392
17.929 1.314
18.028 1.263
18.138 1.246
18.138 0.212
16.488 0.212
16.488 4.64
19.66 4.64
19.66 0.212
END
4 60 3 N 1123 1 1 100 100 0 0 0 Y
TLAYNAM In3.Cu_thin INH
7.488 1.4
4.988 1.4
4.988 4.64
6.35312766 4.64
6.35312766 3.82
6.123893617 3.82
6.125 3.807
6.094 3.771
6.057 3.752
6.029 3.738
5.951 3.66
5.9 3.561
5.883 3.451
5.9 3.341
5.951 3.242
6.029 3.164
6.128 3.113
6.238 3.096
6.238 2.806
6.128 2.789
6.057 2.752
6.029 2.738
5.951 2.66
5.9 2.561
5.883 2.451
5.9 2.341
5.951 2.242
6.029 2.164
6.094 2.131
6.121 2.104
6.124744681 2.06
6.353978723 2.06
6.351 2.095
6.382 2.131
6.447 2.164
6.525 2.242
6.576 2.341
6.593 2.451
6.576 2.561
6.525 2.66
6.447 2.738
6.378 2.773
6.348 2.789
6.238 2.806
6.238 2.806
6.238 3.096
6.348 3.113
6.447 3.164
6.525 3.242
6.576 3.341
6.593 3.451
6.576 3.561
6.525 3.66
6.447 3.738
6.382 3.771
6.355 3.798
6.35312766 3.82
6.35312766 4.64
7.488 4.64
7.488 1.4
END
5 65 0 N 1130 1 1 100 100 0 0 0 Y
TLAYNAM In4.Cu INH
17.913 2.14
17.915 2.118
17.92 2.096
17.926 2.075
17.935 2.055
17.945 2.035
17.957 2.017
17.971 2
17.987 1.984
18.004 1.97
18.022 1.958
18.042 1.948
18.062 1.939
18.083 1.933
18.105 1.928
18.127 1.926
18.149 1.926
18.171 1.928
18.193 1.933
18.214 1.939
18.234 1.948
18.254 1.958
18.272 1.97
18.289 1.984
18.305 2
18.319 2.017
18.331 2.035
18.341 2.055
18.35 2.075
18.356 2.096
18.361 2.118
18.363 2.14
18.363 2.162
18.361 2.184
18.356 2.206
18.35 2.227
18.341 2.247
18.331 2.267
18.319 2.285
18.305 2.302
18.289 2.318
18.272 2.332
18.254 2.344
18.234 2.354
18.214 2.363
18.193 2.369
18.171 2.374
18.149 2.376
18.127 2.376
18.105 2.374
18.083 2.369
18.062 2.363
18.042 2.354
18.022 2.344
18.004 2.332
17.987 2.318
17.971 2.302
17.957 2.285
17.945 2.267
17.935 2.247
17.926 2.227
17.92 2.206
17.915 2.184
17.913 2.162
17.913 2.14
END
5 65 0 N 1131 1 1 100 100 0 0 0 Y
TLAYNAM In4.Cu INH
6.013 2.44
6.015 2.418
6.02 2.396
6.026 2.375
6.035 2.355
6.045 2.335
6.057 2.317
6.071 2.3
6.087 2.284
6.104 2.27
6.122 2.258
6.142 2.248
6.162 2.239
6.183 2.233
6.205 2.228
6.227 2.226
6.249 2.226
6.271 2.228
6.293 2.233
6.314 2.239
6.334 2.248
6.354 2.258
6.372 2.27
6.389 2.284
6.405 2.3
6.419 2.317
6.431 2.335
6.441 2.355
6.45 2.375
6.456 2.396
6.461 2.418
6.463 2.44
6.463 2.462
6.461 2.484
6.456 2.506
6.45 2.527
6.441 2.547
6.431 2.567
6.419 2.585
6.405 2.602
6.389 2.618
6.372 2.632
6.354 2.644
6.334 2.654
6.314 2.663
6.293 2.669
6.271 2.674
6.249 2.676
6.227 2.676
6.205 2.674
6.183 2.669
6.162 2.663
6.142 2.654
6.122 2.644
6.104 2.632
6.087 2.618
6.071 2.602
6.057 2.585
6.045 2.567
6.035 2.547
6.026 2.527
6.02 2.506
6.015 2.484
6.013 2.462
6.013 2.44
END
5 65 0 N 1132 1 1 100 100 0 0 0 Y
TLAYNAM In4.Cu INH
17.913 1.59
17.915 1.568
17.92 1.546
17.926 1.525
17.935 1.505
17.945 1.485
17.957 1.467
17.971 1.45
17.987 1.434
18.004 1.42
18.022 1.408
18.042 1.398
18.062 1.389
18.083 1.383
18.105 1.378
18.127 1.376
18.149 1.376
18.171 1.378
18.193 1.383
18.214 1.389
18.234 1.398
18.254 1.408
18.272 1.42
18.289 1.434
18.305 1.45
18.319 1.467
18.331 1.485
18.341 1.505
18.35 1.525
18.356 1.546
18.361 1.568
18.363 1.59
18.363 1.612
18.361 1.634
18.356 1.656
18.35 1.677
18.341 1.697
18.331 1.717
18.319 1.735
18.305 1.752
18.289 1.768
18.272 1.782
18.254 1.794
18.234 1.804
18.214 1.813
18.193 1.819
18.171 1.824
18.149 1.826
18.127 1.826
18.105 1.824
18.083 1.819
18.062 1.813
18.042 1.804
18.022 1.794
18.004 1.782
17.987 1.768
17.971 1.752
17.957 1.735
17.945 1.717
17.935 1.697
17.926 1.677
17.92 1.656
17.915 1.634
17.913 1.612
17.913 1.59
END
5 65 0 N 1134 1 1 100 100 0 0 0 Y
TLAYNAM In4.Cu INH
6.013 3.44
6.015 3.418
6.02 3.396
6.026 3.375
6.035 3.355
6.045 3.335
6.057 3.317
6.071 3.3
6.087 3.284
6.104 3.27
6.122 3.258
6.142 3.248
6.162 3.239
6.183 3.233
6.205 3.228
6.227 3.226
6.249 3.226
6.271 3.228
6.293 3.233
6.314 3.239
6.334 3.248
6.354 3.258
6.372 3.27
6.389 3.284
6.405 3.3
6.419 3.317
6.431 3.335
6.441 3.355
6.45 3.375
6.456 3.396
6.461 3.418
6.463 3.44
6.463 3.462
6.461 3.484
6.456 3.506
6.45 3.527
6.441 3.547
6.431 3.567
6.419 3.585
6.405 3.602
6.389 3.618
6.372 3.632
6.354 3.644
6.334 3.654
6.314 3.663
6.293 3.669
6.271 3.674
6.249 3.676
6.227 3.676
6.205 3.674
6.183 3.669
6.162 3.663
6.142 3.654
6.122 3.644
6.104 3.632
6.087 3.618
6.071 3.602
6.057 3.585
6.045 3.567
6.035 3.547
6.026 3.527
6.02 3.506
6.015 3.484
6.013 3.462
6.013 3.44
END
5 122 0 N 1138 1 1 100 100 0 0 0 Y
TLAYNAM In4.Cu INH
21 4.64
21 0.46
21 0
18.138 0
18.138 1.246
18.248 1.263
18.347 1.314
18.425 1.392
18.476 1.491
18.493 1.601
18.476 1.711
18.425 1.81
18.402 1.833
18.384 1.876
18.402 1.919
18.425 1.942
18.476 2.041
18.493 2.151
18.476 2.261
18.425 2.36
18.347 2.438
18.321 2.451
18.248 2.489
18.138 2.506
18.028 2.489
17.965 2.456
17.929 2.438
17.86 2.369
17.817 2.351
17.8 2.351
17.8 1.998315789
17.802 1.998
17.838 1.967
17.851 1.942
17.874 1.919
17.892 1.876
17.874 1.833
17.851 1.81
17.813 1.735
17.801 1.719
17.8 1.718581395
17.8 1.351
17.867 1.351
17.91 1.333
17.929 1.314
18.028 1.263
18.138 1.246
18.138 0
0 0
0 3.277166667
0 3.84
0 5
6.238 5
6.238 3.806
6.128 3.789
6.103 3.776
6.029 3.738
6.01 3.719
5.967 3.701
5.9 3.701
5.9 3.201
5.967 3.201
6.01 3.183
6.029 3.164
6.128 3.113
6.238 3.096
6.238 2.806
6.128 2.789
6.103 2.776
6.029 2.738
6.01 2.719
5.967 2.701
5.9 2.701
5.9 2.201
5.967 2.201
6.01 2.183
6.029 2.164
6.128 2.113
6.238 2.096
6.348 2.113
6.447 2.164
6.466 2.183
6.473 2.186
6.503 2.216
6.506 2.223
6.525 2.242
6.576 2.341
6.593 2.451
6.576 2.561
6.525 2.66
6.506 2.679
6.503 2.686
6.473 2.716
6.466 2.719
6.447 2.738
6.378 2.773
6.348 2.789
6.238 2.806
6.238 2.806
6.238 3.096
6.348 3.113
6.447 3.164
6.466 3.183
6.473 3.186
6.503 3.216
6.506 3.223
6.525 3.242
6.576 3.341
6.593 3.451
6.576 3.561
6.525 3.66
6.506 3.679
6.503 3.686
6.473 3.716
6.466 3.719
6.447 3.738
6.378 3.773
6.348 3.789
6.238 3.806
6.238 5
21 5
21 4.64
END
6 150 2 N 674 1 1 100 100 0 0 0 Y
TLAYNAM B.Cu_thick INH
6.013 2.44
6.015 2.418
6.02 2.396
6.026 2.375
6.035 2.355
6.045 2.335
6.057 2.317
6.071 2.3
6.087 2.284
6.104 2.27
6.122 2.258
6.142 2.248
6.162 2.239
6.183 2.233
6.205 2.228
6.227 2.226
6.249 2.226
6.271 2.228
6.293 2.233
6.314 2.239
6.334 2.248
6.354 2.258
6.372 2.27
6.389 2.284
6.405 2.3
6.419 2.317
6.431 2.335
6.441 2.355
6.45 2.375
6.456 2.396
6.461 2.418
6.463 2.44
6.463 2.462
6.461 2.484
6.456 2.506
6.45 2.527
6.441 2.547
6.429 2.571
6.659 2.801
10.526 2.801
11.581 1.746
11.584 1.742
11.596 1.733
11.6 1.731
11.605 1.729
11.609 1.727
11.614 1.726
17.942 1.726
17.947 1.721
17.935 1.697
17.926 1.677
17.92 1.656
17.915 1.634
17.913 1.612
17.913 1.59
17.915 1.568
17.92 1.546
17.926 1.525
17.935 1.505
17.945 1.485
17.957 1.467
17.971 1.45
17.987 1.434
18.004 1.42
18.022 1.408
18.042 1.398
18.062 1.389
18.083 1.383
18.105 1.378
18.127 1.376
18.149 1.376
18.171 1.378
18.193 1.383
18.214 1.389
18.234 1.398
18.254 1.408
18.272 1.42
18.289 1.434
18.305 1.45
18.319 1.467
18.331 1.485
18.341 1.505
18.35 1.525
18.356 1.546
18.361 1.568
18.363 1.59
18.363 1.612
18.361 1.634
18.356 1.656
18.35 1.677
18.341 1.697
18.331 1.717
18.319 1.735
18.305 1.752
18.289 1.768
18.272 1.782
18.254 1.794
18.234 1.804
18.214 1.813
18.193 1.819
18.171 1.824
18.149 1.826
18.127 1.826
18.105 1.824
18.083 1.819
18.062 1.813
18.042 1.804
18.018 1.792
17.997 1.813
17.989 1.819
17.984 1.821
17.98 1.823
17.975 1.825
17.97 1.826
11.643 1.826
10.581 2.888
10.573 2.894
10.568 2.896
10.564 2.898
10.559 2.9
10.554 2.901
6.631 2.901
6.626 2.9
6.621 2.898
6.617 2.896
6.612 2.894
6.604 2.888
6.358 2.642
6.334 2.654
6.314 2.663
6.293 2.669
6.271 2.674
6.249 2.676
6.227 2.676
6.205 2.674
6.183 2.669
6.162 2.663
6.142 2.654
6.122 2.644
6.104 2.632
6.087 2.618
6.071 2.602
6.057 2.585
6.045 2.567
6.035 2.547
6.026 2.527
6.02 2.506
6.015 2.484
6.013 2.462
6.013 2.44
END
6 150 2 N 675 1 1 100 100 0 0 0 Y
TLAYNAM B.Cu_thick INH
6.013 3.44
6.015 3.418
6.02 3.396
6.026 3.375
6.035 3.355
6.045 3.335
6.057 3.317
6.071 3.3
6.087 3.284
6.104 3.27
6.122 3.258
6.142 3.248
6.162 3.239
6.183 3.233
6.205 3.228
6.227 3.226
6.249 3.226
6.271 3.228
6.293 3.233
6.314 3.239
6.334 3.248
6.358 3.26
6.597 3.021
6.6 3.017
6.612 3.008
6.616 3.006
6.621 3.004
6.625 3.002
6.63 3.001
10.608 3.001
11.67 1.939
11.678 1.933
11.683 1.931
11.687 1.929
11.692 1.927
11.697 1.926
17.97 1.926
17.975 1.927
17.98 1.929
17.984 1.931
17.989 1.933
17.997 1.939
18.018 1.96
18.042 1.948
18.062 1.939
18.083 1.933
18.105 1.928
18.127 1.926
18.149 1.926
18.171 1.928
18.193 1.933
18.214 1.939
18.234 1.948
18.254 1.958
18.272 1.97
18.289 1.984
18.305 2
18.319 2.017
18.331 2.035
18.341 2.055
18.35 2.075
18.356 2.096
18.361 2.118
18.363 2.14
18.363 2.162
18.361 2.184
18.356 2.206
18.35 2.227
18.341 2.247
18.331 2.267
18.319 2.285
18.305 2.302
18.289 2.318
18.272 2.332
18.254 2.344
18.234 2.354
18.214 2.363
18.193 2.369
18.171 2.374
18.149 2.376
18.127 2.376
18.105 2.374
18.083 2.369
18.062 2.363
18.042 2.354
18.022 2.344
18.004 2.332
17.987 2.318
17.971 2.302
17.957 2.285
17.945 2.267
17.935 2.247
17.926 2.227
17.92 2.206
17.915 2.184
17.913 2.162
17.913 2.14
17.915 2.118
17.92 2.096
17.926 2.075
17.935 2.055
17.947 2.031
17.942 2.026
11.725 2.026
10.663 3.088
10.655 3.094
10.65 3.096
10.646 3.098
10.641 3.1
10.636 3.101
6.659 3.101
6.429 3.331
6.441 3.355
6.45 3.375
6.456 3.396
6.461 3.418
6.463 3.44
6.463 3.462
6.461 3.484
6.456 3.506
6.45 3.527
6.441 3.547
6.431 3.567
6.419 3.585
6.405 3.602
6.389 3.618
6.372 3.632
6.354 3.644
6.334 3.654
6.314 3.663
6.293 3.669
6.271 3.674
6.249 3.676
6.227 3.676
6.205 3.674
6.183 3.669
6.162 3.663
6.142 3.654
6.122 3.644
6.104 3.632
6.087 3.618
6.071 3.602
6.057 3.585
6.045 3.567
6.035 3.547
6.026 3.527
6.02 3.506
6.015 3.484
6.013 3.462
6.013 3.44
END
6 65 2 N 688 1 1 100 100 0 0 0 Y
TLAYNAM B.Cu_thick INH
17.313 0.88
17.315 0.858
17.32 0.836
17.326 0.815
17.335 0.795
17.345 0.775
17.357 0.757
17.371 0.74
17.387 0.724
17.404 0.71
17.422 0.698
17.442 0.688
17.462 0.679
17.483 0.673
17.505 0.668
17.527 0.666
17.549 0.666
17.571 0.668
17.593 0.673
17.614 0.679
17.634 0.688
17.654 0.698
17.672 0.71
17.689 0.724
17.705 0.74
17.719 0.757
17.731 0.775
17.741 0.795
17.75 0.815
17.756 0.836
17.761 0.858
17.763 0.88
17.763 0.902
17.761 0.924
17.756 0.946
17.75 0.967
17.741 0.987
17.731 1.007
17.719 1.025
17.705 1.042
17.689 1.058
17.672 1.072
17.654 1.084
17.634 1.094
17.614 1.103
17.593 1.109
17.571 1.114
17.549 1.116
17.527 1.116
17.505 1.114
17.483 1.109
17.462 1.103
17.442 1.094
17.422 1.084
17.404 1.072
17.387 1.058
17.371 1.042
17.357 1.025
17.345 1.007
17.335 0.987
17.326 0.967
17.32 0.946
17.315 0.924
17.313 0.902
17.313 0.88
END
6 65 2 N 689 1 1 100 100 0 0 0 Y
TLAYNAM B.Cu_thick INH
17.313 2.785
17.315 2.763
17.32 2.741
17.326 2.72
17.335 2.7
17.345 2.68
17.357 2.662
17.371 2.645
17.387 2.629
17.404 2.615
17.422 2.603
17.442 2.593
17.462 2.584
17.483 2.578
17.505 2.573
17.527 2.571
17.549 2.571
17.571 2.573
17.593 2.578
17.614 2.584
17.634 2.593
17.654 2.603
17.672 2.615
17.689 2.629
17.705 2.645
17.719 2.662
17.731 2.68
17.741 2.7
17.75 2.72
17.756 2.741
17.761 2.763
17.763 2.785
17.763 2.807
17.761 2.829
17.756 2.851
17.75 2.872
17.741 2.892
17.731 2.912
17.719 2.93
17.705 2.947
17.689 2.963
17.672 2.977
17.654 2.989
17.634 2.999
17.614 3.008
17.593 3.014
17.571 3.019
17.549 3.021
17.527 3.021
17.505 3.019
17.483 3.014
17.462 3.008
17.442 2.999
17.422 2.989
17.404 2.977
17.387 2.963
17.371 2.947
17.357 2.93
17.345 2.912
17.335 2.892
17.326 2.872
17.32 2.851
17.315 2.829
17.313 2.807
17.313 2.785
END
END GEO
OPT
MAX 100
END OPT
VARSWP
ENABLED Y
FREQ Y AY ABS_ENTRY 0.01 20.0 -1 300 
END
END VARSWP
```
